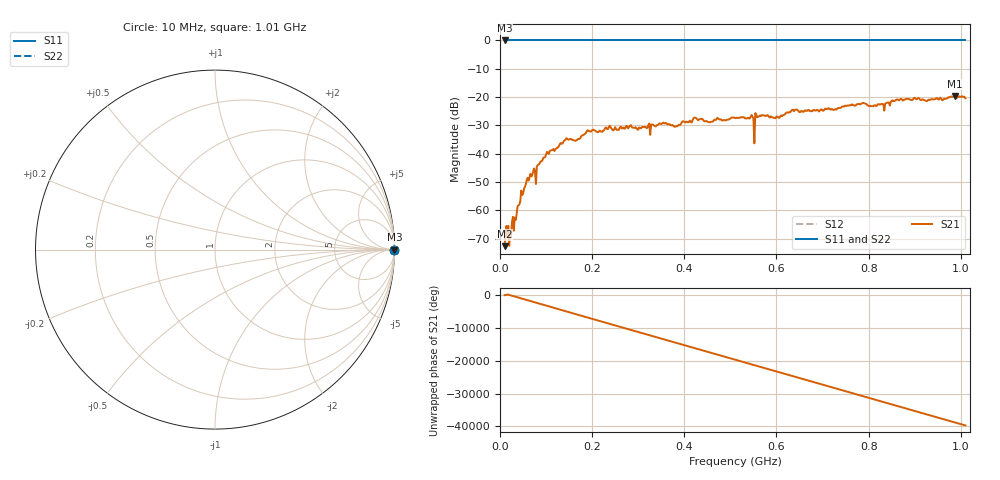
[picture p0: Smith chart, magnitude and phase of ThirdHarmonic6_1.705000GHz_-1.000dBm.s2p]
! 8/16/2025 8:30:10 PM
! C:\ANRITSUVNA\TEMP\TEMP.S2P
! CHANNEL.1
! TR.MEASUREMENT
! RAW.DATA
! RF.CORRECTION.OFF
! AVERAGING.OFF
! IF.BANDWIDTH: 5KHZ
! SWEEPTYPE:  FREQ.SWEEP(Linear)
! Reference Plane Port Info
! PORT:  PORT1  PORT2
! DISTANCE:  0  m  0  m
! TIME:  0  s  0  s
! PHASE.OFFSET:  0  deg.  0  deg.
! LOSS:  0  dB  0  dB
! REF.LOSS:  0  dB  0  dB
! REF.FREQ:  0  Hz  0  Hz
! Power Info
! POWER:  -20  dBm  -20  dBm
! EFF.POWER:  -20  dBm  -20  dBm
! SOURCE.ATTEN:  0  dB  0  dB
! TEST.ATTEN:  0  dB  0  dB
# GHZ S RI R 50.0
! FREQ.GHZ  S11RE  S11IM  S21RE  S21IM  S12RE  S12IM  S22RE  S22IM
!; PortSelection: Port_12
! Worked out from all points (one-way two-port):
!   501 points, 10 MHz to 1.01 GHz, reference 50 ohm
!   highest |S21| = -19.61 dB at 988 MHz (marker M1); lowest = -72.6 dB at 10 MHz (marker M2)
!   lowest |S11| = 0.0 dB at 10 MHz (marker M3)
!   |S11| at or under -10 dB: nowhere
!   |S22| runs from 0.0 to 0.0 dB; largest |S21 - S12| = 1.1
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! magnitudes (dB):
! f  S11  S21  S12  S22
! 10 MHz  0.0  -72.6  0.0  0.0
! 14 MHz  0.0  -65.5  0.0  0.0
! 24 MHz  0.0  -69.0  0.0  0.0
! 56 MHz  0.0  -50.8  0.0  0.0
! 84 MHz  0.0  -43.8  0.0  0.0
! 142 MHz  0.0  -35.1  0.0  0.0
! 178 MHz  0.0  -33.6  0.0  0.0
! 234 MHz  0.0  -31.3  0.0  0.0
! 344 MHz  0.0  -29.6  0.0  0.0
! 382 MHz  0.0  -30.3  0.0  0.0
! 424 MHz  0.0  -27.3  0.0  0.0
! 510 MHz  0.0  -27.4  0.0  0.0
! 546 MHz  0.0  -26.3  0.0  0.0
! 548 MHz  0.0  -26.9  0.0  0.0
! 556 MHz  0.0  -26.1  0.0  0.0
! 558 MHz  0.0  -27.1  0.0  0.0
! 602 MHz  0.0  -26.9  0.0  0.0
! 638 MHz  0.0  -25.0  0.0  0.0
! 678 MHz  0.0  -25.0  0.0  0.0
! 844 MHz  0.0  -22.0  0.0  0.0
! 988 MHz  0.0  -19.6  0.0  0.0
! 1.01 GHz  0.0  -20.4  0.0  0.0
